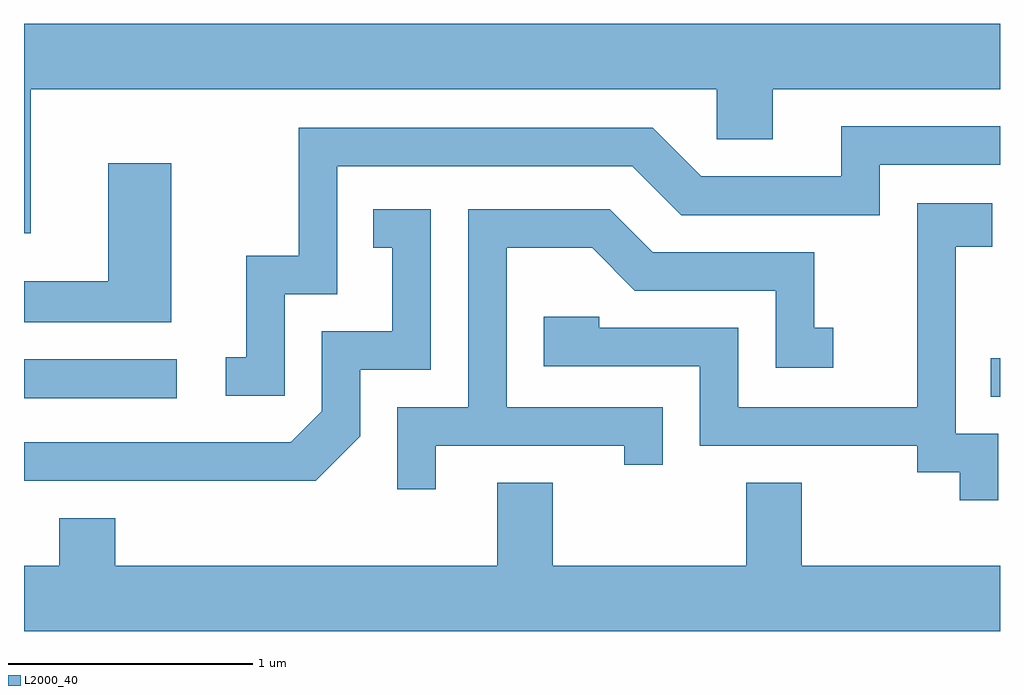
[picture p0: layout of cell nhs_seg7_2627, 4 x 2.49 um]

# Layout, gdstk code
import gdstk
lib = gdstk.Library(unit=1e-6, precision=1e-09)
def R(c, l, rs):  # rectangles x0, y0, x1, y1
    for r in rs: c.add(gdstk.rectangle(r[:2], r[2:], *l))
def P(c, l, *ps):  # polygons
    for p in ps: c.add(gdstk.Polygon(p, *l))
L2000_40 = (2000, 40)

nhs_seg7_2627 = lib.new_cell('nhs_seg7_2627')
R(nhs_seg7_2627, L2000_40, [(265.611,1719.711,266.238,1719.869), (269.573,1719.716,269.611,1719.874)])
P(nhs_seg7_2627, L2000_40, [(265.639,1720.976),(268.451,1720.976),(268.451,1720.771),(268.679,1720.771),(268.679,1720.976),(269.611,1720.976),(269.611,1721.244),(265.611,1721.244),(265.611,1720.386),(265.639,1720.386)],
  [(266.679,1720.136),(266.894,1720.136),(266.894,1720.661),(268.104,1720.661),(268.304,1720.461),(269.119,1720.461),(269.119,1720.666),(269.611,1720.666),(269.611,1720.824),(268.961,1720.824),(268.961,1720.619),(268.387,1720.619),(268.187,1720.819),(266.736,1720.819),(266.736,1720.294),(266.521,1720.294),(266.521,1719.879),(266.438,1719.879),(266.438,1719.721),(266.679,1719.721)],
  [(266.214,1720.674),(265.956,1720.674),(265.956,1720.189),(265.611,1720.189),(265.611,1720.021),(266.214,1720.021)],
  [(269.604,1719.564),(269.429,1719.564),(269.429,1720.331),(269.579,1720.331),(269.579,1720.509),(269.271,1720.509),(269.271,1719.674),(268.539,1719.674),(268.539,1719.999),(267.969,1719.999),(267.969,1720.044),(267.741,1720.044),(267.741,1719.841),(268.381,1719.841),(268.381,1719.516),(269.271,1719.516),(269.271,1719.406),(269.446,1719.406),(269.446,1719.293),(269.604,1719.293)],
  [(266.989,1719.554),(266.989,1719.826),(267.279,1719.826),(267.279,1720.484),(267.043,1720.484),(267.043,1720.326),(267.121,1720.326),(267.121,1719.984),(266.831,1719.984),(266.831,1719.657),(266.704,1719.529),(265.611,1719.529),(265.611,1719.371),(266.807,1719.371)],
  [(267.299,1719.516),(268.071,1719.516),(268.071,1719.438),(268.229,1719.438),(268.229,1719.674),(267.589,1719.674),(267.589,1720.326),(267.939,1720.326),(268.114,1720.151),(268.691,1720.151),(268.691,1719.836),(268.928,1719.836),(268.928,1719.999),(268.849,1719.999),(268.849,1720.309),(268.187,1720.309),(268.012,1720.484),(267.431,1720.484),(267.431,1719.674),(267.141,1719.674),(267.141,1719.338),(267.299,1719.338)],
  [(269.611,1719.024),(268.799,1719.024),(268.799,1719.364),(268.571,1719.364),(268.571,1719.024),(267.779,1719.024),(267.779,1719.364),(267.551,1719.364),(267.551,1719.024),(265.984,1719.024),(265.984,1719.219),(265.756,1719.219),(265.756,1719.024),(265.611,1719.024),(265.611,1718.756),(269.611,1718.756)])

lib.write_gds('nhs_seg7_2627.gds')
